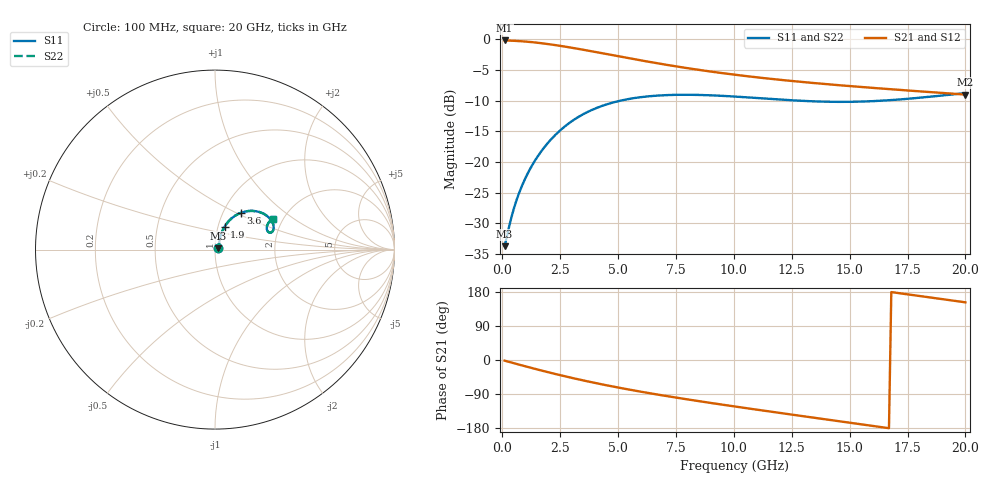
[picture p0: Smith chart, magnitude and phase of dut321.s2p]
! Touchstone file exported from HFSS 2024.1.0
!  File:  C:/UserFiles/LocalFiles/RDL_TSV_Batchsim/temp_RDL_TSV_321_1779629883.aedt
!  Generated:  09:55:01 PM May 24, 2026
!  Design:  RDL_TSV
!  Project:  temp_RDL_TSV_321_1779629883
!  Setup:  Setup1
!  Solution:  Sweep
! Variables:
!  dtsv = 7.46um
!  hbump = 3um
!  htsv = 64.84um
!  ldown = 318.65um
!  lrdl = 541.82um
!  p = 40
!  p1 = 46.68um
!  rhole = 10um
!  subl = 3123.23um
!  t = 450um
!  tdown = 3.71um
!  trdl = 3.86um
!  viad = 10um
!  wdown = 16.73um
!  wrdl = 15.32um
!  xbump = 18um
# GHz S MA R 50.000000
! Terminal data exported
! Port[1] = TM1_1_T1
! Port[2] = TM1_4_T1
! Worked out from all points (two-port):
!   200 points, 100 MHz to 20 GHz, reference 50 ohm
!   highest |S21| = -0.17 dB at 100 MHz (marker M1); lowest = -9.0 dB at 20 GHz (marker M2)
!   |S21| within 3 dB of the highest: start of sweep to 5.625 GHz
!   lowest |S11| = -33.7 dB at 100 MHz (marker M3), VSWR 1.04, Z = 52 + j0.778 ohm
!   |S11| at or under -10 dB: start of sweep to 5.083 GHz; 12.89 GHz to 16.31 GHz (3.418 GHz wide, 23.4 % of centre)
!   |S22| runs from -33.7 to -8.7 dB; largest |S21 - S12| = 6.5e-13
!   S11 on the Smith chart (normalised r, x): 100 MHz: 1.04, +0.02; 1.9 GHz: 1.08, +0.28; 3.6 GHz: 1.21, +0.53; 20 GHz: 1.78, +0.70
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0.1  0.02067 21.2  0.9806 -1.7  0.9806 -1.7  0.02067 21.2
! Gamma 0 0 0 0
! Port Impedance 50 0 50 0
0.3  0.03012 46.0  0.9781 -5.1  0.9781 -5.1  0.03012 46.0
0.5  0.04187 56.7  0.9744 -8.5  0.9744 -8.5  0.04187 56.7
0.8  0.06085 64.2  0.967 -13.5  0.967 -13.5  0.06085 64.2
1  0.0742 66.6  0.9607 -16.7  0.9607 -16.7  0.07419 66.6
1.3  0.09502 68.1  0.9492 -21.6  0.9492 -21.6  0.09501 68.1
1.9  0.1383 67.2  0.9206 -31.0  0.9206 -31.0  0.1383 67.3
2.6  0.1885 63.0  0.8804 -41.4  0.8804 -41.4  0.1885 63.0
3.5  0.2461 55.5  0.8236 -53.9  0.8236 -53.9  0.2461 55.5
3.6  0.2517 54.6  0.8172 -55.3  0.8172 -55.3  0.2518 54.7
4.3  0.2868 48.6  0.7727 -64.2  0.7727 -64.2  0.2869 48.6
5  0.3136 42.9  0.73 -72.6  0.73 -72.6  0.3138 42.9
5.9  0.3368 36.3  0.6793 -82.7  0.6793 -82.7  0.337 36.3
6.8  0.3494 30.6  0.6343 -92.2  0.6343 -92.2  0.3497 30.7
8.4  0.3532 23.1  0.5679 -107.8  0.5679 -107.8  0.3535 23.2
10.1  0.3417 18.4  0.514 -123.2  0.514 -123.2  0.3421 18.5
11.7  0.3262 16.9  0.4749 -137.2  0.4749 -137.2  0.3266 17.0
13.4  0.3132 18.2  0.4421 -151.8  0.4421 -151.8  0.3135 18.2
15  0.3101 21.1  0.4167 -165.5  0.4167 -165.5  0.3104 21.2
16.7  0.3195 24.6  0.3936 -180.0  0.3936 -180.0  0.3198 24.7
18.3  0.3387 27.0  0.3742 166.5  0.3742 166.5  0.339 27.0
20  0.3651 27.8  0.3553 152.2  0.3553 152.2  0.3654 27.9
